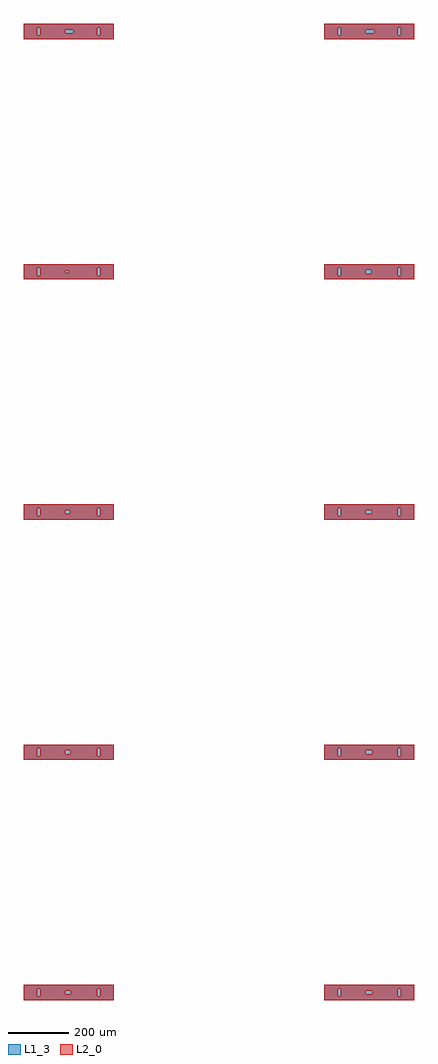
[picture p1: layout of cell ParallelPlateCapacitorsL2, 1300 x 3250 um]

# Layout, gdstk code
import gdstk
lib = gdstk.Library(unit=1e-6, precision=1e-09)
def R(c, l, rs):  # rectangles x0, y0, x1, y1
    for r in rs: c.add(gdstk.rectangle(r[:2], r[2:], *l))
def P(c, l, *ps):  # polygons
    for p in ps: c.add(gdstk.Polygon(p, *l))
L1_3 = (1, 3)
L2_0 = (2, 0)

c_5ffppcl2 = lib.new_cell('5fFPPCL2')
R(c_5ffppcl2, L1_3, [(-150,-25,150,25), (-110,-20,-90,20), (90,-20,110,20)])
R(c_5ffppcl2, L2_0, [(-103,-18,-97,-13), (97,-18,103,-13), (-103,13,-97,18), (97,13,103,18)])
P(c_5ffppcl2, L2_0, [(-150,-25),(-150,25),(150,25),(150,19.5),(-105,19.5),(-105,-19.5),(-95,-19.5),(-95,19.5),(95,19.5),(95,6),(-12,6),(-12,-6),(2.5,-6),(2.5,6),(95,6),(95,-19.5),(105,-19.5),(105,19.5),(150,19.5),(150,-25)])

c_10ffppcl2 = lib.new_cell('10fFPPCL2')
R(c_10ffppcl2, L1_3, [(-150,-25,150,25), (-110,-20,-90,20), (90,-20,110,20)])
R(c_10ffppcl2, L2_0, [(-103,-18,-97,-13), (97,-18,103,-13), (-103,13,-97,18), (97,13,103,18)])
P(c_10ffppcl2, L2_0, [(-150,-25),(-150,25),(150,25),(150,19.5),(-105,19.5),(-105,-19.5),(-95,-19.5),(-95,19.5),(95,19.5),(95,6),(-12,6),(-12,-6),(4,-6),(4,6),(95,6),(95,-19.5),(105,-19.5),(105,19.5),(150,19.5),(150,-25)])

c_15ffppcl2 = lib.new_cell('15fFPPCL2')
R(c_15ffppcl2, L1_3, [(-150,-25,150,25), (-110,-20,-90,20), (90,-20,110,20)])
R(c_15ffppcl2, L2_0, [(-103,-18,-97,-13), (97,-18,103,-13), (-103,13,-97,18), (97,13,103,18)])
P(c_15ffppcl2, L2_0, [(-150,-25),(-150,25),(150,25),(150,19.5),(-105,19.5),(-105,-19.5),(-95,-19.5),(-95,19.5),(95,19.5),(95,6),(-12,6),(-12,-6),(6,-6),(6,6),(95,6),(95,-19.5),(105,-19.5),(105,19.5),(150,19.5),(150,-25)])

c_20ffppcl2 = lib.new_cell('20fFPPCL2')
R(c_20ffppcl2, L1_3, [(-150,-25,150,25), (-110,-20,-90,20), (90,-20,110,20)])
R(c_20ffppcl2, L2_0, [(-103,-18,-97,-13), (97,-18,103,-13), (-103,13,-97,18), (97,13,103,18)])
P(c_20ffppcl2, L2_0, [(-150,-25),(-150,25),(150,25),(150,19.5),(-105,19.5),(-105,-19.5),(-95,-19.5),(-95,19.5),(95,19.5),(95,6),(-12,6),(-12,-6),(7,-6),(7,6),(95,6),(95,-19.5),(105,-19.5),(105,19.5),(150,19.5),(150,-25)])

c_25ffppcl2 = lib.new_cell('25fFPPCL2')
R(c_25ffppcl2, L1_3, [(-150,-25,150,25), (-110,-20,-90,20), (90,-20,110,20)])
R(c_25ffppcl2, L2_0, [(-103,-18,-97,-13), (97,-18,103,-13), (-103,13,-97,18), (97,13,103,18)])
P(c_25ffppcl2, L2_0, [(-150,-25),(-150,25),(150,25),(150,19.5),(-105,19.5),(-105,-19.5),(-95,-19.5),(-95,19.5),(95,19.5),(95,6),(-12,6),(-12,-6),(8,-6),(8,6),(95,6),(95,-19.5),(105,-19.5),(105,19.5),(150,19.5),(150,-25)])

c_30ffppcl2 = lib.new_cell('30fFPPCL2')
R(c_30ffppcl2, L1_3, [(-150,-25,150,25), (-110,-20,-90,20), (90,-20,110,20)])
R(c_30ffppcl2, L2_0, [(-103,-18,-97,-13), (97,-18,103,-13), (-103,13,-97,18), (97,13,103,18)])
P(c_30ffppcl2, L2_0, [(-150,-25),(-150,25),(150,25),(150,19.5),(-105,19.5),(-105,-19.5),(-95,-19.5),(-95,19.5),(95,19.5),(95,6),(-12,6),(-12,-6),(10,-6),(10,6),(95,6),(95,-19.5),(105,-19.5),(105,19.5),(150,19.5),(150,-25)])

c_35ffppcl2 = lib.new_cell('35fFPPCL2')
R(c_35ffppcl2, L1_3, [(-150,-25,150,25)])
R(c_35ffppcl2, L2_0, [(-103,-18,-97,-13), (97,-18,103,-13), (-103,13,-97,18), (97,13,103,18)])
P(c_35ffppcl2, L2_0, [(-150,-25),(-150,25),(150,25),(150,19.5),(-105,19.5),(-105,-19.5),(-95,-19.5),(-95,19.5),(95,19.5),(95,6),(-12,6),(-12,-6),(11,-6),(11,6),(95,6),(95,-19.5),(105,-19.5),(105,19.5),(150,19.5),(150,-25)])

c_2ffppcl2 = lib.new_cell('2fFPPCL2')
R(c_2ffppcl2, L1_3, [(-150,-25,150,25), (-110,-20,-90,20), (90,-20,110,20)])
R(c_2ffppcl2, L2_0, [(-103,-18,-97,-13), (97,-18,103,-13), (-103,13,-97,18), (97,13,103,18)])
P(c_2ffppcl2, L2_0, [(-150,-25),(-150,25),(150,25),(150,19.5),(-105,19.5),(-105,-19.5),(-95,-19.5),(-95,19.5),(95,19.5),(95,3.5),(-12,3.5),(-12,-3.5),(2,-3.5),(2,3.5),(95,3.5),(95,-19.5),(105,-19.5),(105,19.5),(150,19.5),(150,-25)])

c_45ffppcl2 = lib.new_cell('45fFPPCL2')
R(c_45ffppcl2, L1_3, [(-150,-25,150,25)])
R(c_45ffppcl2, L2_0, [(-103,-18,-97,-13), (97,-18,103,-13), (-103,13,-97,18), (97,13,103,18)])
P(c_45ffppcl2, L2_0, [(-150,-25),(-150,25),(150,25),(150,19.5),(-105,19.5),(-105,-19.5),(-95,-19.5),(-95,19.5),(95,19.5),(95,6),(-12,6),(-12,-6),(14,-6),(14,6),(95,6),(95,-19.5),(105,-19.5),(105,19.5),(150,19.5),(150,-25)])

c_55ffppcl2 = lib.new_cell('55fFPPCL2')
R(c_55ffppcl2, L1_3, [(-150,-25,150,25)])
R(c_55ffppcl2, L2_0, [(-103,-18,-97,-13), (97,-18,103,-13), (-103,13,-97,18), (97,13,103,18)])
P(c_55ffppcl2, L2_0, [(-150,-25),(-150,25),(150,25),(150,19.5),(-105,19.5),(-105,-19.5),(-95,-19.5),(-95,19.5),(95,19.5),(95,6),(-12,6),(-12,-6),(17,-6),(17,6),(95,6),(95,-19.5),(105,-19.5),(105,19.5),(150,19.5),(150,-25)])

parallelplatecapacitorsl = lib.new_cell('ParallelPlateCapacitorsL2')
parallelplatecapacitorsl.add(gdstk.Reference(c_5ffppcl2, (-500,0)))
parallelplatecapacitorsl.add(gdstk.Reference(c_10ffppcl2, (-500,-800)))
parallelplatecapacitorsl.add(gdstk.Reference(c_15ffppcl2, (-500,-1600)))
parallelplatecapacitorsl.add(gdstk.Reference(c_20ffppcl2, (500,800)))
parallelplatecapacitorsl.add(gdstk.Reference(c_25ffppcl2, (500,0)))
parallelplatecapacitorsl.add(gdstk.Reference(c_30ffppcl2, (500,-800)))
parallelplatecapacitorsl.add(gdstk.Reference(c_35ffppcl2, (500,-1600)))
parallelplatecapacitorsl.add(gdstk.Reference(c_2ffppcl2, (-500,800)))
parallelplatecapacitorsl.add(gdstk.Reference(c_45ffppcl2, (-500,1600)))
parallelplatecapacitorsl.add(gdstk.Reference(c_55ffppcl2, (500,1600)))

lib.write_gds('ParallelPlateCapacitorsL2.gds')
